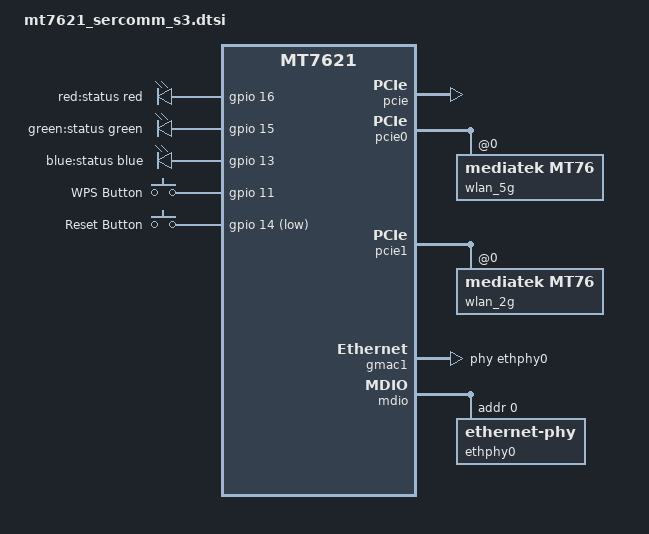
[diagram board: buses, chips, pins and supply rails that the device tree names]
// SPDX-License-Identifier: GPL-2.0-or-later

#include "mt7621.dtsi"

#include <dt-bindings/gpio/gpio.h>
#include <dt-bindings/input/input.h>
#include <dt-bindings/leds/common.h>

/ {
	aliases {
		led-boot = &led_status_green;
		led-failsafe = &led_status_red;
		led-running = &led_status_green;
		led-upgrade = &led_status_red;
	};

	leds {
		compatible = "gpio-leds";

		led_status_red: status_red {
			label = "red:status";
			color = <LED_COLOR_ID_RED>;
			function = LED_FUNCTION_STATUS;
			gpios = <&gpio 16 GPIO_ACTIVE_HIGH>;
		};

		led_status_green: status_green {
			label = "green:status";
			color = <LED_COLOR_ID_GREEN>;
			function = LED_FUNCTION_STATUS;
			gpios = <&gpio 15 GPIO_ACTIVE_HIGH>;
		};

		led_status_blue: status_blue {
			label = "blue:status";
			color = <LED_COLOR_ID_BLUE>;
			function = LED_FUNCTION_STATUS;
			gpios = <&gpio 13 GPIO_ACTIVE_HIGH>;
		};
	};

	keys {
		compatible = "gpio-keys";

		wps {
			label = "WPS Button";
			gpios = <&gpio 11 GPIO_ACTIVE_HIGH>;
			linux,code = <KEY_WPS_BUTTON>;
		};

		reset {
			label = "Reset Button";
			gpios = <&gpio 14 GPIO_ACTIVE_LOW>;
			linux,code = <KEY_RESTART>;
		};
	};
};

&pcie {
	status = "okay";
};

&pcie0 {
	wlan_5g: wifi@0,0 {
		compatible = "mediatek,mt76";
		reg = <0x0 0 0 0 0>;
		ieee80211-freq-limit = <5000000 6000000>;

		nvmem-cells = <&macaddr_factory_21000>;
		nvmem-cell-names = "mac-address";
		mac-address-increment = <(5)>;
	};
};

&pcie1 {
	wlan_2g: wifi@0,0 {
		compatible = "mediatek,mt76";
		reg = <0x0 0 0 0 0>;
		ieee80211-freq-limit = <2400000 2500000>;

		nvmem-cells = <&macaddr_factory_21000>;
		nvmem-cell-names = "mac-address";
		mac-address-increment = <(4)>;
	};
};

&gmac1 {
	status = "okay";
	label = "wan";
	phy-handle = <&ethphy0>;
};

&mdio {
	ethphy0: ethernet-phy@0 {
		reg = <0>;
	};
};

&switch0 {
	ports {
		wan: port@0 {
			status = "okay";
			label = "wan";
		};

		port@1 {
			status = "okay";
			label = "lan1";
		};

		port@2 {
			status = "okay";
			label = "lan2";
		};

		port@3 {
			status = "okay";
			label = "lan3";
		};

		port@4 {
			status = "okay";
			label = "lan4";
		};
	};
};
